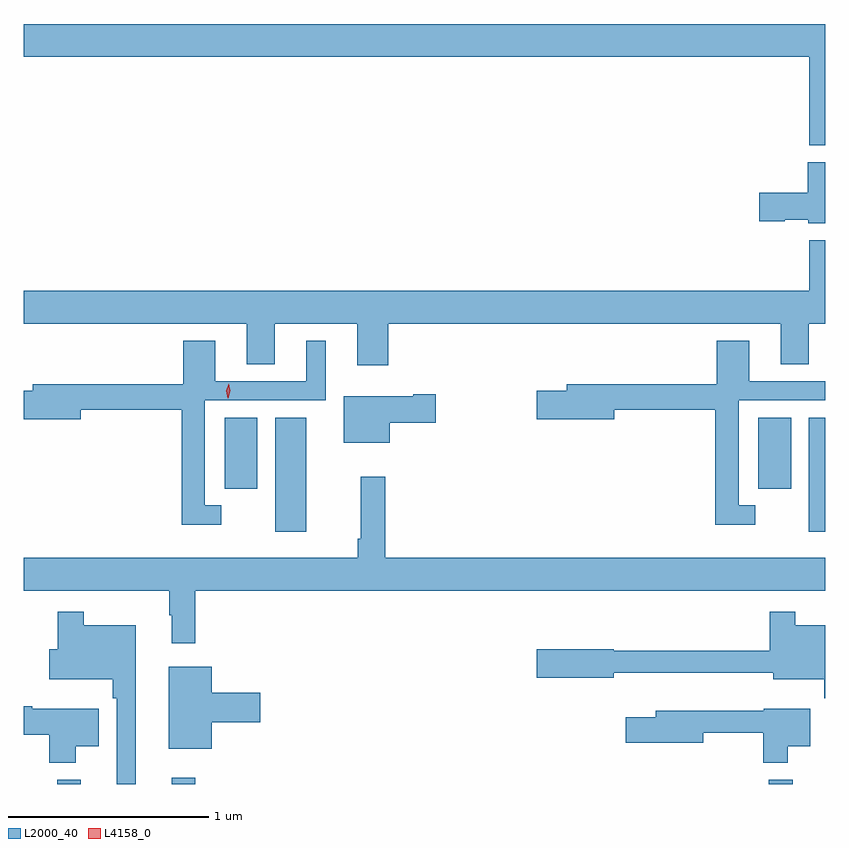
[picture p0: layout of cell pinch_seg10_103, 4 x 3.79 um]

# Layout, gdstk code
import gdstk
lib = gdstk.Library(unit=1e-6, precision=1e-09)
def R(c, l, rs):  # rectangles x0, y0, x1, y1
    for r in rs: c.add(gdstk.rectangle(r[:2], r[2:], *l))
def P(c, l, *ps):  # polygons
    for p in ps: c.add(gdstk.Polygon(p, *l))
L2000_40 = (2000, 40)
L4158_0 = (4158, 0)

pinch_seg10_103 = lib.new_cell('pinch_seg10_103')
R(pinch_seg10_103, L2000_40, [(686.641,1304.679,686.759,1304.701), (687.212,1304.679,687.329,1304.71), (690.193,1304.679,690.311,1304.701), (687.728,1305.939,687.883,1306.508), (690.392,1305.939,690.474,1306.508), (687.476,1306.152,687.64,1306.508), (690.14,1306.152,690.304,1306.508)])
P(pinch_seg10_103, L2000_40, [(690.474,1308.472),(686.474,1308.472),(686.474,1308.308),(690.395,1308.308),(690.395,1307.867),(690.474,1307.867)],
  [(690.474,1307.782),(690.386,1307.782),(690.386,1307.63),(690.144,1307.63),(690.144,1307.488),(690.273,1307.488),(690.273,1307.495),(690.39,1307.495),(690.39,1307.477),(690.474,1307.477)],
  [(688.292,1306.976),(690.251,1306.976),(690.251,1306.774),(690.391,1306.774),(690.391,1306.976),(690.474,1306.976),(690.474,1307.392),(690.395,1307.392),(690.395,1307.14),(686.474,1307.14),(686.474,1306.976),(687.587,1306.976),(687.587,1306.774),(687.727,1306.774),(687.727,1306.976),(688.139,1306.976),(688.139,1306.77),(688.292,1306.77)],
  [(687.46,1306.071),(687.378,1306.071),(687.378,1306.593),(687.982,1306.593),(687.982,1306.891),(687.884,1306.891),(687.884,1306.689),(687.43,1306.689),(687.43,1306.891),(687.269,1306.891),(687.269,1306.675),(686.519,1306.675),(686.519,1306.641),(686.474,1306.641),(686.474,1306.499),(686.758,1306.499),(686.758,1306.546),(687.262,1306.546),(687.262,1305.974),(687.46,1305.974)],
  [(690.124,1306.071),(690.042,1306.071),(690.042,1306.593),(690.474,1306.593),(690.474,1306.689),(690.094,1306.689),(690.094,1306.891),(689.933,1306.891),(689.933,1306.675),(689.183,1306.675),(689.183,1306.641),(689.034,1306.641),(689.034,1306.499),(689.422,1306.499),(689.422,1306.546),(689.926,1306.546),(689.926,1305.974),(690.124,1305.974)],
  [(688.3,1306.481),(688.531,1306.481),(688.531,1306.623),(688.418,1306.623),(688.418,1306.615),(688.07,1306.615),(688.07,1306.382),(688.3,1306.382)],
  [(687.329,1305.644),(690.474,1305.644),(690.474,1305.808),(688.277,1305.808),(688.277,1306.213),(688.156,1306.213),(688.156,1305.904),(688.141,1305.904),(688.141,1305.808),(686.474,1305.808),(686.474,1305.644),(687.201,1305.644),(687.201,1305.521),(687.212,1305.521),(687.212,1305.381),(687.329,1305.381)],
  [(690.474,1305.472),(690.325,1305.472),(690.325,1305.538),(690.196,1305.538),(690.196,1305.343),(689.418,1305.343),(689.418,1305.351),(689.034,1305.351),(689.034,1305.209),(689.418,1305.209),(689.418,1305.233),(690.215,1305.233),(690.215,1305.203),(690.469,1305.203),(690.469,1305.107),(690.474,1305.107)],
  [(687.034,1305.472),(686.773,1305.472),(686.773,1305.538),(686.644,1305.538),(686.644,1305.351),(686.6,1305.351),(686.6,1305.203),(686.917,1305.203),(686.917,1305.107),(686.937,1305.107),(686.937,1304.679),(687.034,1304.679)],
  [(687.412,1304.987),(687.655,1304.987),(687.655,1305.134),(687.412,1305.134),(687.412,1305.265),(687.197,1305.265),(687.197,1304.855),(687.412,1304.855)],
  [(686.734,1304.867),(686.848,1304.867),(686.848,1305.055),(686.516,1305.055),(686.516,1305.068),(686.474,1305.068),(686.474,1304.926),(686.6,1304.926),(686.6,1304.786),(686.734,1304.786)],
  [(690.286,1304.867),(690.4,1304.867),(690.4,1305.055),(690.168,1305.055),(690.168,1305.044),(689.627,1305.044),(689.627,1305.013),(689.478,1305.013),(689.478,1304.884),(689.866,1304.884),(689.866,1304.934),(690.164,1304.934),(690.164,1304.786),(690.286,1304.786)])
P(pinch_seg10_103, L4158_0, [(687.493,1306.605),(687.485,1306.642),(687.496,1306.677),(687.497,1306.677),(687.497,1306.677),(687.505,1306.641),(687.494,1306.605),(687.494,1306.605)])

lib.write_gds('pinch_seg10_103.gds')
